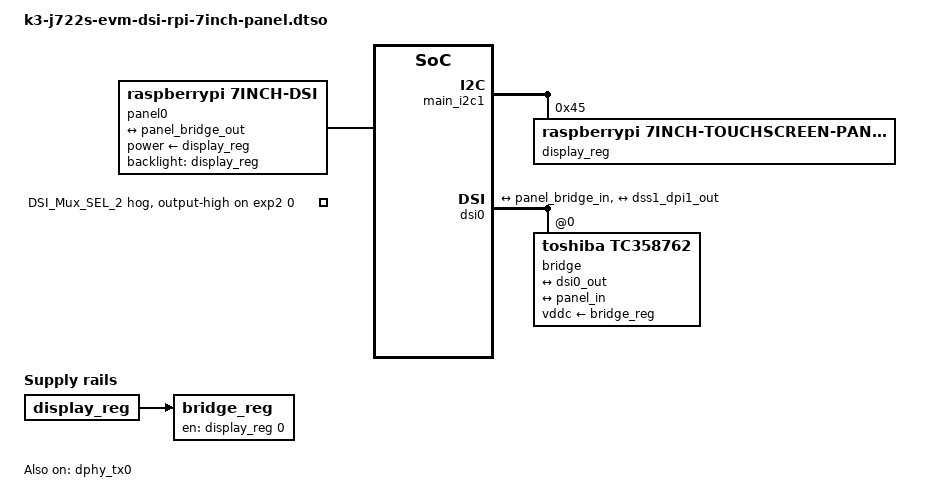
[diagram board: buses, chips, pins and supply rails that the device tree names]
// SPDX-License-Identifier: GPL-2.0
/**
 * DT Overlay for RPi 7inch touchscreen panel interfaced with DSI on
 * J722S EVM.
 *
 * RPi DSI Panel: https://www.raspberrypi.com/products/raspberry-pi-touch-display/
 *
 * Copyright (C) 2024 Texas Instruments Incorporated - https://www.ti.com/
 */

/dts-v1/;
/plugin/;

#include <dt-bindings/gpio/gpio.h>
#include <dt-bindings/interrupt-controller/irq.h>

#include "k3-pinctrl.h"

&{/} {
	panel0 {
		compatible = "raspberrypi,7inch-dsi", "simple-panel";
		backlight = <&display_reg>;
		power-supply = <&display_reg>;

		port {
			panel_in: endpoint {
				remote-endpoint = <&panel_bridge_out>;
			};
		};
	};

	bridge_reg: bridge-regulator {
		compatible = "regulator-fixed";
		regulator-name = "bridge-reg";
		gpio = <&display_reg 0 0>;
		vin-supply = <&display_reg>;
		enable-active-high;
	};
};

&exp2 {
	p00-hog {
		/* P00 - DSI_Mux_SEL_2 */
		gpio-hog;
		gpios = <0 GPIO_ACTIVE_HIGH>;
		output-high;
		line-name = "DSI_Mux_SEL_2";
	};
};

&dphy_tx0 {
	status = "okay";
};

&main_i2c1 {
	#address-cells = <1>;
	#size-cells = <0>;

	display_reg: regulator@45 {
		compatible = "raspberrypi,7inch-touchscreen-panel-regulator";
		reg = <0x45>;
		gpio-controller;
		#gpio-cells = <2>;
	};
};

&dsi0 {
	status = "okay";
	#address-cells = <1>;
	#size-cells = <0>;

	ports {
		#address-cells = <1>;
		#size-cells = <0>;

		port@0 {
			reg = <0>;

			dsi0_out: endpoint {
				remote-endpoint = <&panel_bridge_in>;
			};
		};

		port@1 {
			reg = <1>;

			dsi0_in: endpoint {
				remote-endpoint = <&dss1_dpi1_out>;
			};
		};
	};

	bridge@0 {
		status = "okay";
		compatible = "toshiba,tc358762";
		reg = <0>;
		vddc-supply = <&bridge_reg>;
		ports {
			#address-cells = <1>;
			#size-cells = <0>;

			port@0 {
				reg = <0>;

				panel_bridge_in: endpoint {
					remote-endpoint = <&dsi0_out>;
				};
			};

			port@1 {
				reg = <1>;

				panel_bridge_out: endpoint {
					remote-endpoint = <&panel_in>;
				};
			};
		};
	};
};

&dss1_ports {
	#address-cells = <1>;
	#size-cells = <0>;

	/* DSS1-VP1: DSI Output */
	port@1 {
		reg = <1>;

		dss1_dpi1_out: endpoint {
			remote-endpoint = <&dsi0_in>;
		};
	};
};
